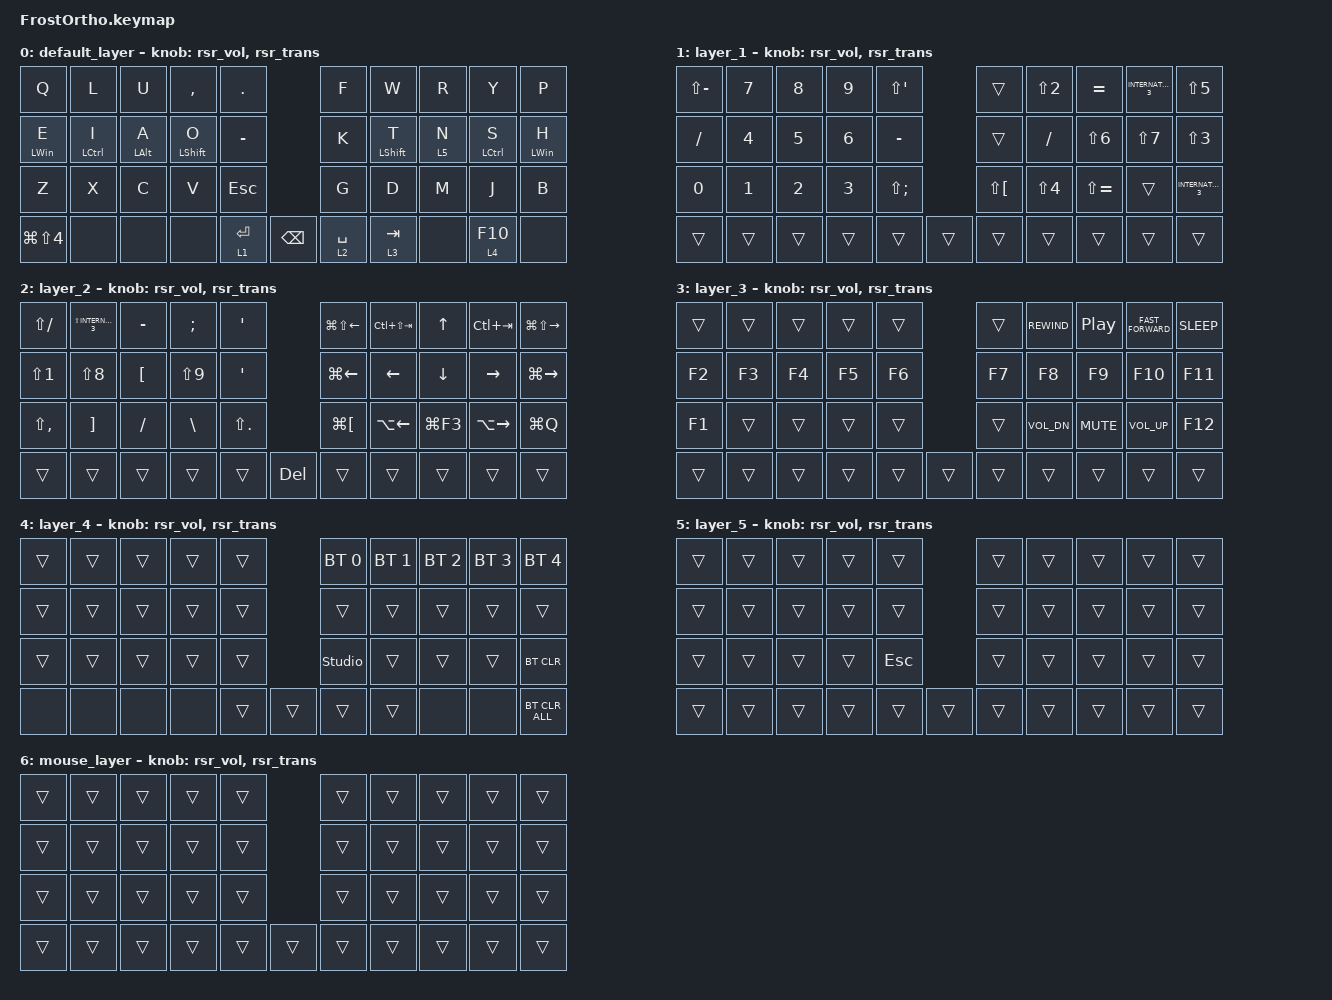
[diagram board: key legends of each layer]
#include <input/processors.dtsi>
#include <behaviors/runtime-sensor-rotate.dtsi>
#include <behaviors.dtsi>
#include <dt-bindings/zmk/bt.h>
#include <dt-bindings/zmk/keys.h>
#include <dt-bindings/zmk/pointing.h>
#include <behaviors/runtime-sensor-rotate.dtsi>

#define MOUSE 6

&mt {
    flavor = "balanced";
    quick-tap-ms = <0>;
};

/ {
    macros {
        to_layer_0: to_layer_0 {
            compatible = "zmk,behavior-macro-one-param";
            #binding-cells = <1>;
            bindings = <&to 0 &macro_param_1to1 &kp MACRO_PLACEHOLDER>;
            label = "TO_LAYER_0";
        };

        screenshot: screenshot {
            compatible = "zmk,behavior-macro";
            #binding-cells = <0>;
            bindings =
                <&to 7>,
                <&macro_press>,
                <&kp LEFT_WIN &kp LEFT_SHIFT &kp S>,
                <&macro_release>,
                <&kp LEFT_WIN &kp LEFT_SHIFT &kp S>;

            label = "SCREENSHOT";
        };
    };

    behaviors {
        lt_to_layer_0: lt_to_layer_0 {
            compatible = "zmk,behavior-hold-tap";
            label = "LAYER_TAP_TO_0";
            bindings = <&mo>, <&to_layer_0>;

            #binding-cells = <2>;
            tapping-term-ms = <300>;
        };
        // Kyemap Editor用
        scroll_up_down: behavior_sensor_rotate_mouse_wheel_up_down {
            compatible = "zmk,behavior-sensor-rotate";
            #sensor-binding-cells = <0>;
            tap-ms = <20>;
            bindings = <&msc SCRL_UP>, <&msc SCRL_DOWN>;
        };
        vol_up_down: vol_up_down {
            compatible = "zmk,behavior-sensor-rotate";
            #sensor-binding-cells = <0>;
            tap-ms = <5>;
            bindings = <&kp C_VOL_DN>, <&kp C_VOL_UP>;
        };
        // DYA Studio用
        rsr_vol: rsr_vol {
            compatible = "zmk,behavior-runtime-sensor-rotate";
            #sensor-binding-cells = <0>;
            tap-ms = <5>;
            cw-binding = <&kp C_VOL_DN>;
            ccw-binding = <&kp C_VOL_UP>;
        };
    };

    keymap {
        compatible = "zmk,keymap";

        default_layer {
            bindings = <
&kp Q             &kp L                  &kp U             &kp COMMA        &kp PERIOD                         &kp F          &kp W                 &kp R       &kp Y                &kp P
&mt LEFT_WIN E    &mt LEFT_CONTROL I     &mt LEFT_ALT A    &mt LEFT_SHIFT O &kp MINUS                          &kp K          &mt LEFT_SHIFT T      &lt 5 N     &mt LEFT_CONTROL S   &mt LEFT_WIN H
&kp Z             &kp X                  &kp C             &kp V            &kp ESCAPE                         &kp G          &kp D                 &kp M       &kp J                &kp B
&kp LG(LS(N4))    &none                  &none             &none            &lt 1 ENTER    &kp BACKSPACE       &lt 2 SPACE    &lt 3 TAB             &none       &lt 4 F10            &none
            >;

            sensor-bindings = <&rsr_vol &rsr_trans>;
        };

        layer_1 {
            bindings = <
&kp LS(MINUS)  &kp N7      &kp N8      &kp N9        &kp LS(SQT)                  &trans             &kp LS(N2)      &kp EQUAL       &kp INTERNATIONAL_3  &kp LS(N5)
&kp SLASH      &kp N4      &kp N5      &kp N6        &kp MINUS                    &trans             &kp SLASH       &kp LS(N6)      &kp LS(N7)          &kp LS(N3)
&kp N0         &kp N1      &kp N2      &kp N3        &kp LS(SEMICOLON)            &kp LS(LEFT_BRACKET) &kp LS(N4)   &kp LS(EQUAL)   &trans              &kp INTERNATIONAL_3
&trans         &trans      &trans      &trans        &trans          &trans      &trans           &trans          &trans              &trans              &trans
            >;

            sensor-bindings = <&rsr_vol &rsr_trans>;
        };

        layer_2 {
            bindings = <
&kp LS(SLASH)  &kp LS(INTERNATIONAL_3)  &kp MINUS        &kp SEMICOLON    &kp SQT                 &kp LG(LS(LEFT_ARROW))  &kp LC(LS(TAB))    &kp UP_ARROW      &kp LC(TAB)       &kp LG(LS(RIGHT_ARROW))
&kp LS(N1)     &kp LS(N8)               &kp LEFT_BRACKET &kp LS(N9)       &kp SQT                 &kp LG(LEFT_ARROW)      &kp LEFT_ARROW     &kp DOWN_ARROW    &kp RIGHT_ARROW   &kp LG(RIGHT_ARROW)
&kp LS(COMMA)  &kp RIGHT_BRACKET        &kp SLASH        &kp BACKSLASH    &kp LS(PERIOD)          &kp LG(LEFT_BRACKET)    &kp LA(LEFT_ARROW) &kp LG(F3)        &kp LA(RIGHT_ARROW) &kp LG(Q)
&trans         &trans                   &trans           &trans           &trans       &kp DEL    &trans                  &trans             &trans            &trans            &trans
            >;

            sensor-bindings = <&rsr_vol &rsr_trans>;
        };

        layer_3 {
            bindings = <
&trans     &trans        &trans           &trans              &trans                     &trans          &kp C_REWIND       &kp C_PLAY_PAUSE  &kp C_FAST_FORWARD  &kp C_SLEEP
&kp F2     &kp F3        &kp F4           &kp F5              &kp F6                     &kp F7          &kp F8             &kp F9            &kp F10             &kp F11
&kp F1     &trans        &trans           &trans              &trans                     &trans          &kp C_VOL_DN       &kp C_MUTE        &kp C_VOL_UP        &kp F12
&trans     &trans        &trans           &trans              &trans          &trans      &trans             &trans            &trans             &trans             &trans
            >;

            sensor-bindings = <&rsr_vol &rsr_trans>;
        };

        layer_4 {
            bindings = <
&trans  &trans  &trans  &trans  &trans              &bt BT_SEL 0    &bt BT_SEL 1  &bt BT_SEL 2  &bt BT_SEL 3  &bt BT_SEL 4
&trans  &trans  &trans  &trans  &trans              &trans          &trans        &trans        &trans        &trans
&trans  &trans  &trans  &trans  &trans              &studio_unlock  &trans        &trans        &trans        &bt BT_CLR
&none   &none   &none   &none   &trans  &trans      &trans          &trans        &none         &none         &bt BT_CLR_ALL
            >;

            sensor-bindings = <&rsr_vol &rsr_trans>;
        };

        layer_5 {
            bindings = <
&trans  &trans  &trans  &trans  &trans              &trans  &trans  &trans  &trans  &trans
&trans  &trans  &trans  &trans  &trans              &trans  &trans  &trans  &trans  &trans
&trans  &trans  &trans  &trans  &kp ESCAPE          &trans  &trans  &trans  &trans  &trans
&trans  &trans  &trans  &trans  &trans  &trans      &trans  &trans  &trans  &trans  &trans
            >;

            sensor-bindings = <&rsr_vol &rsr_trans>;
        };

        mouse_layer {
            bindings = <
&trans  &trans  &trans  &trans  &trans              &trans  &trans    &trans    &trans    &trans
&trans  &trans  &trans  &trans  &trans              &trans  &trans    &trans    &trans    &trans
&trans  &trans  &trans  &trans  &trans              &trans  &trans    &trans    &trans    &trans
&trans  &trans  &trans  &trans  &trans  &trans      &trans  &trans    &trans    &trans    &trans
            >;

            sensor-bindings = <&rsr_vol &rsr_trans>;
        };
    };

    combos {
        compatible = "zmk,combos";

        combo_kana {
            timeout-ms = <80>;
            key-positions = <12 13>;
            bindings = <&kp LANG1>;
            layers = <0>;
        };

        combo_eisuu {
            timeout-ms = <80>;
            key-positions = <11 12>;
            bindings = <&kp LANG_HANJA>;
            layers = <0>;
        };

        combo_left_click {
            timeout-ms = <80>;
            key-positions = <16 17>;
            bindings = <&mkp MB1>;
            layers = <0>;
        };

        combo_right_click {
            timeout-ms = <80>;
            key-positions = <17 18>;
            bindings = <&mkp MB2>;
            layers = <0>;
        };

        combo_mission_control {
            timeout-ms = <80>;
            key-positions = <11 12 13>;
            bindings = <&kp LC(UP)>;
            layers = <0>;
            slow-release;
        };

    };
};
